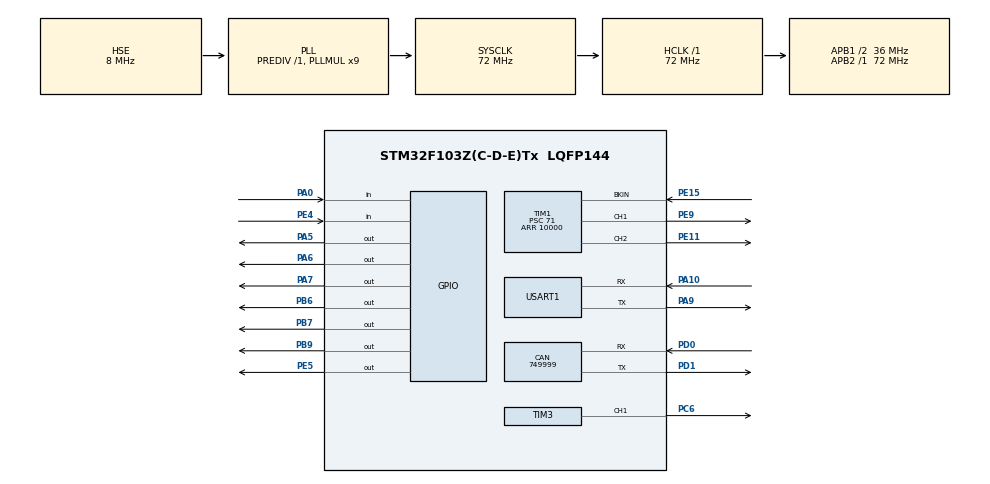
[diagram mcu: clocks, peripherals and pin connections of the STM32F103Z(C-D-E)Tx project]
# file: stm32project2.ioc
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CAN.BS1=CAN_BS1_1TQ
CAN.BS2=CAN_BS2_1TQ
CAN.CalculateBaudRate=749999
CAN.CalculateTimeBit=1333
CAN.CalculateTimeQuantum=444.44444444444446
FREERTOS.Tasks01=motor_move,40,256,StartDefaultTask,Default,NULL,Dynamic,NULL,NULL;motor_dir,32,256,StartTask02,Default,NULL,Dynamic,NULL,NULL
FREERTOS.configUSE_NEWLIB_REENTRANT=1
Mcu.Family=STM32F1
Mcu.Name=STM32F103Z(C-D-E)Tx
Mcu.Package=LQFP144
NVIC.PriorityGroup=NVIC_PRIORITYGROUP_4
NVIC.TIM1_CC_IRQn=true\:5\:0\:false\:false\:true\:true\:true\:true\:true
NVIC.TIM1_TRG_COM_IRQn=true\:5\:0\:false\:false\:true\:true\:true\:true\:true
NVIC.TIM2_IRQn=true\:15\:0\:false\:false\:true\:false\:false\:true\:true
NVIC.TimeBase=TIM2_IRQn
NVIC.TimeBaseIP=TIM2
NVIC.USART1_IRQn=true\:5\:0\:false\:false\:true\:true\:true\:true\:true
NVIC.USB_LP_CAN1_RX0_IRQn=true\:5\:0\:false\:false\:true\:true\:true\:true\:true
OSC_IN.Mode=HSE-External-Oscillator
OSC_IN.Signal=RCC_OSC_IN
OSC_OUT.Mode=HSE-External-Oscillator
OSC_OUT.Signal=RCC_OSC_OUT
PA0-WKUP.GPIO_PuPd=GPIO_PULLDOWN
PA0-WKUP.Signal=GPIO_Input
PA10.Mode=Asynchronous
PA10.Signal=USART1_RX
PA13.Mode=Serial_Wire
PA13.Signal=SYS_JTMS-SWDIO
PA14.Mode=Serial_Wire
PA14.Signal=SYS_JTCK-SWCLK
PA5.GPIO_ModeDefaultOutputPP=GPIO_MODE_OUTPUT_OD
PA5.GPIO_PuPd=GPIO_NOPULL
PA5.GPIO_Speed=GPIO_SPEED_FREQ_LOW
PA5.PinState=GPIO_PIN_RESET
PA5.Signal=GPIO_Output
PA6.GPIO_ModeDefaultOutputPP=GPIO_MODE_OUTPUT_OD
PA6.GPIO_PuPd=GPIO_NOPULL
PA6.GPIO_Speed=GPIO_SPEED_FREQ_LOW
PA6.PinState=GPIO_PIN_RESET
PA6.Signal=GPIO_Output
PA7.GPIO_PuPd=GPIO_PULLUP
PA7.GPIO_Speed=GPIO_SPEED_FREQ_HIGH
PA7.PinState=GPIO_PIN_SET
PA7.Signal=GPIO_Output
PA9.Mode=Asynchronous
PA9.Signal=USART1_TX
PB6.GPIO_ModeDefaultOutputPP=GPIO_MODE_OUTPUT_OD
PB6.GPIO_PuPd=GPIO_PULLUP
PB6.GPIO_Speed=GPIO_SPEED_FREQ_HIGH
PB6.PinState=GPIO_PIN_RESET
PB6.Signal=GPIO_Output
PB7.GPIO_ModeDefaultOutputPP=GPIO_MODE_OUTPUT_OD
PB7.GPIO_PuPd=GPIO_PULLUP
PB7.GPIO_Speed=GPIO_SPEED_FREQ_HIGH
PB7.PinState=GPIO_PIN_RESET
PB7.Signal=GPIO_Output
PB9.GPIO_ModeDefaultOutputPP=GPIO_MODE_OUTPUT_PP
PB9.GPIO_PuPd=GPIO_PULLUP
PB9.GPIO_Speed=GPIO_SPEED_FREQ_HIGH
PB9.PinState=GPIO_PIN_SET
PB9.Signal=GPIO_Output
PC14-OSC32_IN.Mode=LSE-External-Oscillator
PC14-OSC32_IN.Signal=RCC_OSC32_IN
PC15-OSC32_OUT.Mode=LSE-External-Oscillator
PC15-OSC32_OUT.Signal=RCC_OSC32_OUT
PC6.Signal=S_TIM3_CH1
PD0.Mode=CAN_Activate
PD0.Signal=CAN_RX
PD1.Mode=CAN_Activate
PD1.Signal=CAN_TX
PE11.Signal=S_TIM1_CH2
PE15.Mode=Activate-Break-Input
PE15.Signal=TIM1_BKIN
PE4.GPIO_PuPd=GPIO_PULLUP
PE4.Signal=GPIO_Input
PE5.GPIO_PuPd=GPIO_PULLUP
PE5.GPIO_Speed=GPIO_SPEED_FREQ_HIGH
PE5.PinState=GPIO_PIN_SET
PE5.Signal=GPIO_Output
PE9.Signal=S_TIM1_CH1
ProjectManager.HeapSize=0x400
ProjectManager.StackSize=0x400
ProjectManager.TargetToolchain=STM32CubeIDE
RCC.ADCPresc=RCC_ADCPCLK2_DIV6
RCC.AHBFreq_Value=72000000
RCC.APB1CLKDivider=RCC_HCLK_DIV2
RCC.APB1Freq_Value=36000000
RCC.APB1TimFreq_Value=72000000
RCC.APB2Freq_Value=72000000
RCC.APB2TimFreq_Value=72000000
RCC.HCLKFreq_Value=72000000
RCC.HSICalibrationValue=16
RCC.PLLMUL=RCC_PLL_MUL9
RCC.PLLSourceVirtual=RCC_PLLSOURCE_HSE
RCC.RTCClockSelection=RCC_RTCCLKSOURCE_LSE
RCC.SYSCLKFreq_VALUE=72000000
RCC.SYSCLKSource=RCC_SYSCLKSOURCE_PLLCLK
RCC.USBFreq_Value=72000000
SH.S_TIM1_CH1.0=TIM1_CH1,PWM Generation1 CH1
SH.S_TIM1_CH2.0=TIM1_CH2,Output Compare2 CH2
SH.S_TIM3_CH1.0=TIM3_CH1,Output Compare1 CH1
TIM1.AutoReloadPreload=TIM_AUTORELOAD_PRELOAD_DISABLE
TIM1.Channel-Output\ Compare2\ CH2=TIM_CHANNEL_2
TIM1.Channel-PWM\ Generation1\ CH1=TIM_CHANNEL_1
TIM1.OCMode_2=TIM_OCMODE_TOGGLE
TIM1.Period=10000
TIM1.Prescaler=71
TIM3.Channel-Output\ Compare1\ CH1=TIM_CHANNEL_1
TIM3.OCMode_1=TIM_OCMODE_TOGGLE
TIM3.Period=10000
TIM3.Prescaler=71
TIM4.Prescaler=71
USART1.VirtualMode=VM_ASYNC
VP_FREERTOS_VS_CMSIS_V2.Mode=CMSIS_V2
VP_SYS_VS_tim2.Mode=TIM2
VP_TIM1_VS_ClockSourceINT.Mode=Internal
VP_TIM3_VS_ClockSourceINT.Mode=Internal
VP_TIM4_VS_ClockSourceINT.Mode=Internal
board=custom

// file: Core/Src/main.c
/* USER CODE BEGIN Header */
/**
  ******************************************************************************
  * @file           : main.c
  * @brief          : Main program body
  ******************************************************************************
  * @attention
  *
  * Copyright (c) 2025 STMicroelectronics.
  * All rights reserved.
  *
  * This software is licensed under terms that can be found in the LICENSE file
  * in the root directory of this software component.
  * If no LICENSE file comes with this software, it is provided AS-IS.
  *
  ******************************************************************************
  */
/* USER CODE END Header */
#include "main.h"
#include "cmsis_os.h"
#include "can.h"
#include "tim.h"
#include "usart.h"
#include "gpio.h"

/* USER CODE BEGIN Includes */
#include "i2c.h"
/* USER CODE END Includes */

void SystemClock_Config(void);
void MX_FREERTOS_Init(void);

int main(void)
{

  /* MCU Configuration--------------------------------------------------------*/

  /* Reset of all peripherals, Initializes the Flash interface and the Systick. */
  HAL_Init();

  /* Configure the system clock */
  SystemClock_Config();

  /* Initialize all configured peripherals */
  MX_GPIO_Init();
  MX_CAN_Init();
  MX_TIM1_Init();
  MX_TIM4_Init();
  MX_USART1_UART_Init();
  MX_TIM3_Init();
  /* USER CODE BEGIN 2 */
  i2c_end();

  /* USER CODE END 2 */

  /* Init scheduler */
  osKernelInitialize();

  /* Call init function for freertos objects (in cmsis_os2.c) */
  MX_FREERTOS_Init();

  /* Start scheduler */
  osKernelStart();

  /* We should never get here as control is now taken by the scheduler */

  /* Infinite loop */
  while (1)
  {

  }
}

void SystemClock_Config(void)
{
  RCC_OscInitTypeDef RCC_OscInitStruct = {0};
  RCC_ClkInitTypeDef RCC_ClkInitStruct = {0};

  /** Initializes the RCC Oscillators according to the specified parameters
  * in the RCC_OscInitTypeDef structure.
  */
  RCC_OscInitStruct.OscillatorType = RCC_OSCILLATORTYPE_HSE;
  RCC_OscInitStruct.HSEState = RCC_HSE_ON;
  RCC_OscInitStruct.HSEPredivValue = RCC_HSE_PREDIV_DIV1;
  RCC_OscInitStruct.HSIState = RCC_HSI_ON;
  RCC_OscInitStruct.PLL.PLLState = RCC_PLL_ON;
  RCC_OscInitStruct.PLL.PLLSource = RCC_PLLSOURCE_HSE;
  RCC_OscInitStruct.PLL.PLLMUL = RCC_PLL_MUL9;
  if (HAL_RCC_OscConfig(&RCC_OscInitStruct) != HAL_OK)
  {
    Error_Handler();
  }

  /** Initializes the CPU, AHB and APB buses clocks
  */
  RCC_ClkInitStruct.ClockType = RCC_CLOCKTYPE_HCLK|RCC_CLOCKTYPE_SYSCLK
                              |RCC_CLOCKTYPE_PCLK1|RCC_CLOCKTYPE_PCLK2;
  RCC_ClkInitStruct.SYSCLKSource = RCC_SYSCLKSOURCE_PLLCLK;
  RCC_ClkInitStruct.AHBCLKDivider = RCC_SYSCLK_DIV1;
  RCC_ClkInitStruct.APB1CLKDivider = RCC_HCLK_DIV2;
  RCC_ClkInitStruct.APB2CLKDivider = RCC_HCLK_DIV1;

  if (HAL_RCC_ClockConfig(&RCC_ClkInitStruct, FLASH_LATENCY_2) != HAL_OK)
  {
    Error_Handler();
  }
}

void HAL_TIM_PeriodElapsedCallback(TIM_HandleTypeDef *htim)
{
  if (htim->Instance == TIM2) {
    HAL_IncTick();
  }
}

void Error_Handler(void)
{
  __disable_irq();
  while (1)
  {
  }
}

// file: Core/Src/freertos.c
/* USER CODE BEGIN Header */
/**
  ******************************************************************************
  * File Name          : freertos.c
  * Description        : Code for freertos applications
  ******************************************************************************
  * @attention
  *
  * Copyright (c) 2025 STMicroelectronics.
  * All rights reserved.
  *
  * This software is licensed under terms that can be found in the LICENSE file
  * in the root directory of this software component.
  * If no LICENSE file comes with this software, it is provided AS-IS.
  *
  ******************************************************************************
  */
/* USER CODE END Header */

#include "FreeRTOS.h"
#include "task.h"
#include "main.h"
#include "cmsis_os.h"

/* USER CODE BEGIN Includes */
#include "gpio.h"
#include "i2c.h"
/* USER CODE END Includes */

/* USER CODE BEGIN PTD */
uint8_t flag=1;
uint8_t flag_key=1;

int key_val=0;
int i=0;
int dir_val=0;
int angle_val=90;
/* USER CODE END PTD */

/* Definitions for motor_move */
osThreadId_t motor_moveHandle;
const osThreadAttr_t motor_move_attributes = {
  .name = "motor_move",
  .stack_size = 256 * 4,
  .priority = (osPriority_t) osPriorityHigh,
};
/* Definitions for motor_dir */
osThreadId_t motor_dirHandle;
const osThreadAttr_t motor_dir_attributes = {
  .name = "motor_dir",
  .stack_size = 256 * 4,
  .priority = (osPriority_t) osPriorityAboveNormal,
};

/* USER CODE BEGIN FunctionPrototypes */
void stepper_turn(int tim,float angle,float subdivide,uint8_t dir);
void BlinkLEDs(void);
/* USER CODE END FunctionPrototypes */

void StartDefaultTask(void *argument);
void StartTask02(void *argument);

void MX_FREERTOS_Init(void); /* (MISRA C 2004 rule 8.1) */

void MX_FREERTOS_Init(void) {

  /* Create the thread(s) */
  /* creation of motor_move */
  motor_moveHandle = osThreadNew(StartDefaultTask, NULL, &motor_move_attributes);

  /* creation of motor_dir */
  motor_dirHandle = osThreadNew(StartTask02, NULL, &motor_dir_attributes);

}

void StartDefaultTask(void *argument)
{
  /* USER CODE BEGIN StartDefaultTask */
  /* Infinite loop */

   for(;;) {
     if(HAL_GPIO_ReadPin(GPIOA, GPIO_PIN_0) == GPIO_PIN_SET) {
       osDelay(10);
       flag = 0;
     }

     if(flag == 0 && flag_key == 1) {
       if(HAL_GPIO_ReadPin(GPIOA, GPIO_PIN_0) == GPIO_PIN_RESET) {
         stepper_turn(120,360,32,CW);
       }
       flag = 1;
     }
/////////////////////////////////////////////////////////////////////
     if(HAL_GPIO_ReadPin(GPIOE, GPIO_PIN_4) == GPIO_PIN_RESET) {
       osDelay(10);
       flag_key = 0;
     }

     if(flag_key == 0 && flag == 1) {
       if(HAL_GPIO_ReadPin(GPIOE, GPIO_PIN_4) == GPIO_PIN_SET) {
         stepper_turn(120,360,32,CCW);
       }
     }
     flag_key = 1;
   }
  /* USER CODE END StartDefaultTask */
}

void StartTask02(void *argument)
{
  /* USER CODE BEGIN StartTask02 */
	/* Infinite loop */
	for(;;) {
	  HAL_GPIO_WritePin(GPIOE, GPIO_PIN_5,GPIO_PIN_SET);
	  HAL_GPIO_WritePin(GPIOB, GPIO_PIN_9,GPIO_PIN_SET);
		osDelay(10);
	}
  /* USER CODE END StartTask02 */
}

/* USER CODE BEGIN Application */

void stepper_turn(int tim,float angle,float subdivide,uint8_t dir)
{
  int n,i;
  /*根据细分数求得步距角被分成多少个方波*/
  n=(int)(angle/(1.8/subdivide));
  if(dir==CW)        //顺时针
  {
    HAL_GPIO_WritePin(MOTOR_DIR_GPIO_PORT,MOTOR_DIR_PIN,HIGH);
  }
  else if(dir==CCW)//逆时针
  {
    HAL_GPIO_WritePin(MOTOR_DIR_GPIO_PORT,MOTOR_DIR_PIN,LOW);
  }
  /*开使能*/
  HAL_GPIO_WritePin(MOTOR_EN_GPIO_PORT,MOTOR_EN_PIN,GPIO_PIN_SET);
  /*模拟方波*/
  for(i=0;i<n;i++)
  {
    HAL_GPIO_WritePin(MOTOR_PUL_GPIO_PORT,MOTOR_PUL_PIN,LOW);
    delay_us(tim/2);
    HAL_GPIO_WritePin(MOTOR_PUL_GPIO_PORT,MOTOR_PUL_PIN,HIGH);
    delay_us(tim/2);
  }
  /*关使能*/
  HAL_GPIO_WritePin(MOTOR_EN_GPIO_PORT,MOTOR_EN_PIN,GPIO_PIN_RESET);
}

void BlinkLEDs(void) {
  HAL_GPIO_TogglePin(GPIOE, GPIO_PIN_5);
  HAL_GPIO_TogglePin(GPIOB, GPIO_PIN_9);
  osDelay(100);
  HAL_GPIO_TogglePin(GPIOE, GPIO_PIN_5);
  HAL_GPIO_TogglePin(GPIOB, GPIO_PIN_9);
  osDelay(300);
  HAL_GPIO_TogglePin(GPIOE, GPIO_PIN_5);
  HAL_GPIO_TogglePin(GPIOB, GPIO_PIN_9);
  osDelay(100);
  HAL_GPIO_TogglePin(GPIOE, GPIO_PIN_5);
  HAL_GPIO_TogglePin(GPIOB, GPIO_PIN_9);
  osDelay(300);
}
/* USER CODE END Application */
